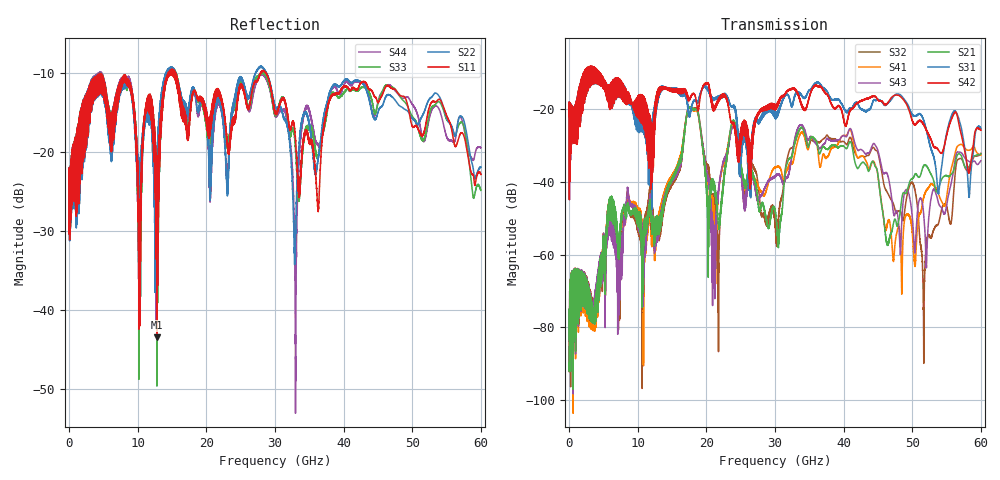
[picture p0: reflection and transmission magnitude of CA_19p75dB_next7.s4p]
!4 port subset of full cascaded channels using these ports:53 37 54 38
# Hz S RI R 50
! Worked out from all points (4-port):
!   6000 points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, 10 MHz to 60 GHz, reference 50 ohm
!   strongest paths, dB at 10 MHz, 15.01 GHz, 30.01 GHz, 45.01 GHz, 60 GHz:
!     S42: -21.9, -14.4, -18.7, -17.3, -25.7
!     S31: -21.9, -14.2, -20.6, -17.2, -25.3
!     S21: -89.8, -38.8, -48.0, -38.2, -32.2
!     S43: -89.7, -39.1, -38.3, -31.4, -34.1
!     S41: -89.8, -38.0, -35.9, -38.3, -32.6
!     S32: -89.8, -39.9, -50.2, -32.0, -32.1
!   lowest |S11| = -43.5 dB at 12.8 GHz (marker M1), VSWR 1.01, Z = 50.4 + j0.524 ohm
!   |S11| at or under -10 dB: start of sweep to 14.45 GHz; 15.5 GHz to 27.89 GHz (12.4 GHz wide, 57.2 % of centre); 28.7 GHz to end of sweep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
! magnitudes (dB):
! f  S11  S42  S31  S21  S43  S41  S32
! 10 MHz  -24.0  -21.9  -21.9  -89.8  -89.7  -89.8  -89.8
! 12.8 GHz  -43.5  -18.1  -19.0  -53.5  -55.2  -53.2  -54.7
! 17.63 GHz  -15.1  -17.0  -21.6  -19.3  -19.5  -19.4  -19.3
! 21.1 GHz  -13.4  -19.4  -17.0  -42.2  -53.3  -55.5  -45.7
! 40.96 GHz  -12.2  -20.3  -19.7  -28.8  -25.3  -25.7  -27.7
! 51.66 GHz  -17.7  -24.1  -22.9  -35.5  -48.7  -44.2  -86.7
! 60 GHz  -22.9  -25.7  -25.3  -32.2  -34.1  -32.6  -32.1
